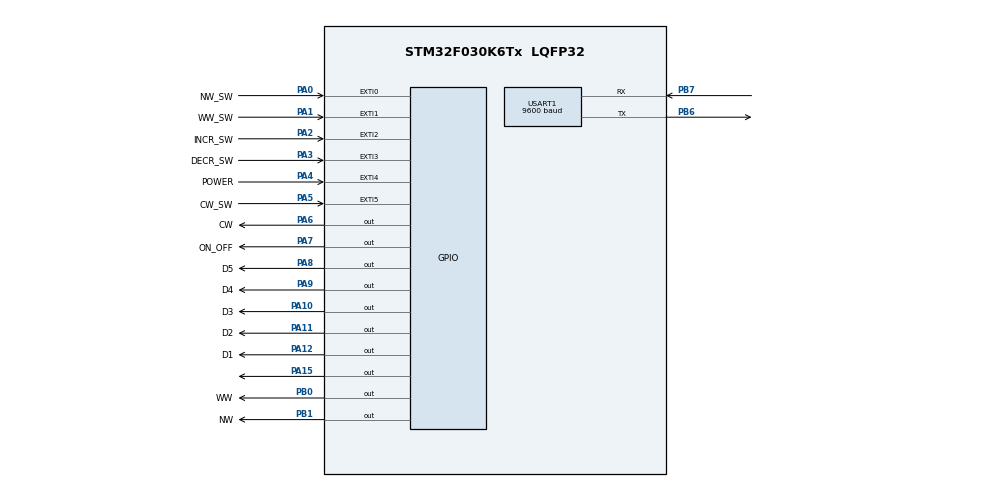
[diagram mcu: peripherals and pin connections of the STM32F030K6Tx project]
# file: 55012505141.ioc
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Mcu.Family=STM32F0
Mcu.Name=STM32F030K6Tx
Mcu.Package=LQFP32
NVIC.EXTI0_1_IRQn=true\:0\:0\:false\:false\:true\:true\:true\:true
NVIC.EXTI2_3_IRQn=true\:0\:0\:false\:false\:true\:true\:true\:true
NVIC.EXTI4_15_IRQn=true\:0\:0\:false\:false\:true\:true\:true\:true
PA0.GPIO_Label=NW_SW
PA0.GPIO_PuPd=GPIO_PULLDOWN
PA0.Signal=GPXTI0
PA1.GPIO_Label=WW_SW
PA1.GPIO_PuPd=GPIO_PULLDOWN
PA1.Signal=GPXTI1
PA10.GPIO_Label=D3
PA10.GPIO_PuPd=GPIO_PULLDOWN
PA10.Signal=GPIO_Output
PA11.GPIO_Label=D2
PA11.GPIO_PuPd=GPIO_PULLDOWN
PA11.Signal=GPIO_Output
PA12.GPIO_Label=D1
PA12.GPIO_PuPd=GPIO_PULLDOWN
PA12.Signal=GPIO_Output
PA15.Signal=GPIO_Output
PA2.GPIO_Label=INCR_SW
PA2.GPIO_PuPd=GPIO_PULLDOWN
PA2.Signal=GPXTI2
PA3.GPIO_Label=DECR_SW
PA3.GPIO_PuPd=GPIO_PULLDOWN
PA3.Signal=GPXTI3
PA4.GPIO_Label=POWER
PA4.GPIO_PuPd=GPIO_PULLDOWN
PA4.Signal=GPXTI4
PA5.GPIO_Label=CW_SW
PA5.GPIO_PuPd=GPIO_PULLDOWN
PA5.Signal=GPXTI5
PA6.GPIO_Label=CW
PA6.GPIO_PuPd=GPIO_PULLDOWN
PA6.Signal=GPIO_Output
PA7.GPIO_Label=ON_OFF
PA7.GPIO_PuPd=GPIO_PULLDOWN
PA7.Signal=GPIO_Output
PA8.GPIO_Label=D5
PA8.GPIO_PuPd=GPIO_PULLDOWN
PA8.Signal=GPIO_Output
PA9.GPIO_Label=D4
PA9.GPIO_PuPd=GPIO_PULLDOWN
PA9.Signal=GPIO_Output
PB0.GPIO_Label=WW
PB0.GPIO_PuPd=GPIO_PULLDOWN
PB0.Signal=GPIO_Output
PB1.GPIO_Label=NW
PB1.Signal=GPIO_Output
PB6.Mode=Asynchronous
PB6.Signal=USART1_TX
PB7.Mode=Asynchronous
PB7.Signal=USART1_RX
ProjectManager.HeapSize=0x200
ProjectManager.StackSize=0x400
ProjectManager.TargetToolchain=STM32CubeIDE
USART1.BaudRate=9600
USART1.VirtualMode-Asynchronous=VM_ASYNC
board=custom

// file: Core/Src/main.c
/* USER CODE BEGIN Header */
/**
  ******************************************************************************
  * @file           : main.c
  * @brief          : Main program body
  ******************************************************************************
  * @attention
  *
  * Copyright (c) 2025 STMicroelectronics.
  * All rights reserved.
  *
  * This software is licensed under terms that can be found in the LICENSE file
  * in the root directory of this software component.
  * If no LICENSE file comes with this software, it is provided AS-IS.
  *
  ******************************************************************************
  */
/* USER CODE END Header */
#include "main.h"

/* USER CODE BEGIN Includes */

#include "input_manager.h"
#include "button_manager.h"
#include "led_manager.h"

void SystemClock_Config(void);
void update_led_level(void);

/* USER CODE END Includes */

UART_HandleTypeDef huart1;

void SystemClock_Config(void);
static void MX_GPIO_Init(void);
static void MX_USART1_UART_Init(void);

/* USER CODE BEGIN 0 */

void HAL_GPIO_EXTI_Callback(uint16_t GPIO_Pin) {
	ButtonManager_HandleInterrupt(GPIO_Pin); // Forward the interrupt to the Button Manager
}

InputAction inputPin;
void MyButtonEventHandler(ButtonEvent *event) {
    InputEvent input_event = { .source = INPUT_SOURCE_BUTTON }; // For input manager, add data to queue

    // Map button ID and action to input events
    switch (event->action) {
        case BUTTON_ACTION_SHORT_PRESS:
            switch (event->button_id) {
            case 0: inputPin = INPUT_CW; break;
               case 1: inputPin = INPUT_TOGGLE; break;
               case 2: inputPin = INPUT_INC; break;
               case 3: inputPin = INPUT_DCR; break;
               case 4: inputPin = INPUT_WW; break;
               case 5: inputPin = INPUT_NW; break;

            }
            break;

//        case BUTTON_ACTION_LONG_PRESS:
//            switch (event->button_id) {
//                case 0: input_event.action = INPUT_NW_LONG; break;
//                case 1: input_event.action = INPUT_WW_LONG; break;
//                case 2: input_event.action = INPUT_CW_LONG; break;
//                case 3: input_event.action = INPUT_DCR_LONG; break;
//                case 4: input_event.action = INPUT_INC_LONG; break;
//                case 5: input_event.action = INPUT_TOGGLE_LONG; break;

//            }
//            break;
    }

//    enqueue_event(input_event); // Enqueue the mapped input event
    handle_input(inputPin);
}

/* USER CODE END 0 */

int main(void)
{

  /* MCU Configuration--------------------------------------------------------*/

  /* Reset of all peripherals, Initializes the Flash interface and the Systick. */
  HAL_Init();

  /* Configure the system clock */
  SystemClock_Config();

  /* Initialize all configured peripherals */
  MX_GPIO_Init();
  MX_USART1_UART_Init();
  /* USER CODE BEGIN 2 */
//  LED_Init();
  ButtonManager_Init(MyButtonEventHandler);
  system_init();

  /* USER CODE END 2 */

  /* Infinite loop */
  /* USER CODE BEGIN WHILE */
  while (1) {
//	  	  	  process_input_events()
          }
    /* USER CODE END WHILE */

}

void SystemClock_Config(void)
{
  RCC_OscInitTypeDef RCC_OscInitStruct = {0};
  RCC_ClkInitTypeDef RCC_ClkInitStruct = {0};
  RCC_PeriphCLKInitTypeDef PeriphClkInit = {0};

  /** Initializes the RCC Oscillators according to the specified parameters
  * in the RCC_OscInitTypeDef structure.
  */
  RCC_OscInitStruct.OscillatorType = RCC_OSCILLATORTYPE_HSI;
  RCC_OscInitStruct.HSIState = RCC_HSI_ON;
  RCC_OscInitStruct.HSICalibrationValue = RCC_HSICALIBRATION_DEFAULT;
  RCC_OscInitStruct.PLL.PLLState = RCC_PLL_NONE;
  if (HAL_RCC_OscConfig(&RCC_OscInitStruct) != HAL_OK)
  {
    Error_Handler();
  }

  /** Initializes the CPU, AHB and APB buses clocks
  */
  RCC_ClkInitStruct.ClockType = RCC_CLOCKTYPE_HCLK|RCC_CLOCKTYPE_SYSCLK
                              |RCC_CLOCKTYPE_PCLK1;
  RCC_ClkInitStruct.SYSCLKSource = RCC_SYSCLKSOURCE_HSI;
  RCC_ClkInitStruct.AHBCLKDivider = RCC_SYSCLK_DIV1;
  RCC_ClkInitStruct.APB1CLKDivider = RCC_HCLK_DIV1;

  if (HAL_RCC_ClockConfig(&RCC_ClkInitStruct, FLASH_LATENCY_0) != HAL_OK)
  {
    Error_Handler();
  }
  PeriphClkInit.PeriphClockSelection = RCC_PERIPHCLK_USART1;
  PeriphClkInit.Usart1ClockSelection = RCC_USART1CLKSOURCE_PCLK1;
  if (HAL_RCCEx_PeriphCLKConfig(&PeriphClkInit) != HAL_OK)
  {
    Error_Handler();
  }
}

static void MX_USART1_UART_Init(void)
{

  huart1.Instance = USART1;
  huart1.Init.BaudRate = 9600;
  huart1.Init.WordLength = UART_WORDLENGTH_8B;
  huart1.Init.StopBits = UART_STOPBITS_1;
  huart1.Init.Parity = UART_PARITY_NONE;
  huart1.Init.Mode = UART_MODE_TX_RX;
  huart1.Init.HwFlowCtl = UART_HWCONTROL_NONE;
  huart1.Init.OverSampling = UART_OVERSAMPLING_16;
  huart1.Init.OneBitSampling = UART_ONE_BIT_SAMPLE_DISABLE;
  huart1.AdvancedInit.AdvFeatureInit = UART_ADVFEATURE_NO_INIT;
  if (HAL_UART_Init(&huart1) != HAL_OK)
  {
    Error_Handler();
  }

}

static void MX_GPIO_Init(void)
{
  GPIO_InitTypeDef GPIO_InitStruct = {0};

  /* GPIO Ports Clock Enable */
  __HAL_RCC_GPIOA_CLK_ENABLE();
  __HAL_RCC_GPIOB_CLK_ENABLE();

  /*Configure GPIO pin Output Level */
  HAL_GPIO_WritePin(GPIOA, CW_Pin|ON_OFF_Pin|D5_Pin|D4_Pin
                          |D3_Pin|D2_Pin|D1_Pin|GPIO_PIN_15, GPIO_PIN_RESET);

  /*Configure GPIO pin Output Level */
  HAL_GPIO_WritePin(GPIOB, WW_Pin|NW_Pin, GPIO_PIN_RESET);

  /*Configure GPIO pins : NW_SW_Pin WW_SW_Pin INCR_SW_Pin DECR_SW_Pin
                           POWER_Pin CW_SW_Pin */
  GPIO_InitStruct.Pin = NW_SW_Pin|WW_SW_Pin|INCR_SW_Pin|DECR_SW_Pin
                          |POWER_Pin|CW_SW_Pin;
  GPIO_InitStruct.Mode = GPIO_MODE_IT_RISING;
  GPIO_InitStruct.Pull = GPIO_PULLDOWN;
  HAL_GPIO_Init(GPIOA, &GPIO_InitStruct);

  /*Configure GPIO pins : CW_Pin ON_OFF_Pin D5_Pin D4_Pin
                           D3_Pin D2_Pin D1_Pin */
  GPIO_InitStruct.Pin = CW_Pin|ON_OFF_Pin|D5_Pin|D4_Pin
                          |D3_Pin|D2_Pin|D1_Pin;
  GPIO_InitStruct.Mode = GPIO_MODE_OUTPUT_PP;
  GPIO_InitStruct.Pull = GPIO_PULLDOWN;
  GPIO_InitStruct.Speed = GPIO_SPEED_FREQ_LOW;
  HAL_GPIO_Init(GPIOA, &GPIO_InitStruct);

  /*Configure GPIO pin : WW_Pin */
  GPIO_InitStruct.Pin = WW_Pin;
  GPIO_InitStruct.Mode = GPIO_MODE_OUTPUT_PP;
  GPIO_InitStruct.Pull = GPIO_PULLDOWN;
  GPIO_InitStruct.Speed = GPIO_SPEED_FREQ_LOW;
  HAL_GPIO_Init(WW_GPIO_Port, &GPIO_InitStruct);

  /*Configure GPIO pin : NW_Pin */
  GPIO_InitStruct.Pin = NW_Pin;
  GPIO_InitStruct.Mode = GPIO_MODE_OUTPUT_PP;
  GPIO_InitStruct.Pull = GPIO_NOPULL;
  GPIO_InitStruct.Speed = GPIO_SPEED_FREQ_LOW;
  HAL_GPIO_Init(NW_GPIO_Port, &GPIO_InitStruct);

  /*Configure GPIO pin : PA15 */
  GPIO_InitStruct.Pin = GPIO_PIN_15;
  GPIO_InitStruct.Mode = GPIO_MODE_OUTPUT_PP;
  GPIO_InitStruct.Pull = GPIO_NOPULL;
  GPIO_InitStruct.Speed = GPIO_SPEED_FREQ_LOW;
  HAL_GPIO_Init(GPIOA, &GPIO_InitStruct);

  /* EXTI interrupt init*/
  HAL_NVIC_SetPriority(EXTI0_1_IRQn, 0, 0);
  HAL_NVIC_EnableIRQ(EXTI0_1_IRQn);

  HAL_NVIC_SetPriority(EXTI2_3_IRQn, 0, 0);
  HAL_NVIC_EnableIRQ(EXTI2_3_IRQn);

  HAL_NVIC_SetPriority(EXTI4_15_IRQn, 0, 0);
  HAL_NVIC_EnableIRQ(EXTI4_15_IRQn);

}

void Error_Handler(void)
{
  __disable_irq();
  while (1)
  {
  }
}
